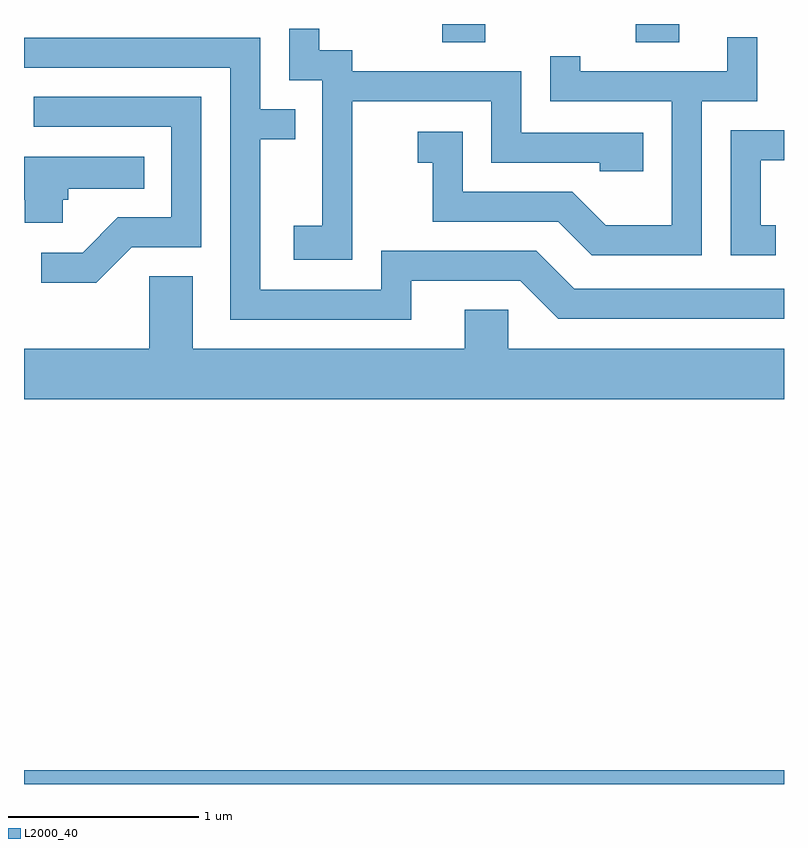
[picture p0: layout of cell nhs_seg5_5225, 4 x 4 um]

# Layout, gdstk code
import gdstk
lib = gdstk.Library(unit=1e-6, precision=1e-09)
def R(c, l, rs):  # rectangles x0, y0, x1, y1
    for r in rs: c.add(gdstk.rectangle(r[:2], r[2:], *l))
def P(c, l, *ps):  # polygons
    for p in ps: c.add(gdstk.Polygon(p, *l))
L2000_40 = (2000, 40)

nhs_seg5_5225 = lib.new_cell('nhs_seg5_5225')
R(nhs_seg5_5225, L2000_40, [(339.611,1488.072,343.611,1488.144), (341.811,1491.976,342.039,1492.072), (342.831,1491.976,343.059,1492.072)])
P(nhs_seg5_5225, L2000_40, [(341.339,1491.666),(342.071,1491.666),(342.071,1491.341),(342.641,1491.341),(342.641,1491.296),(342.869,1491.296),(342.869,1491.499),(342.229,1491.499),(342.229,1491.824),(341.339,1491.824),(341.339,1491.934),(341.164,1491.934),(341.164,1492.048),(341.006,1492.048),(341.006,1491.776),(341.181,1491.776),(341.181,1491.009),(341.031,1491.009),(341.031,1490.831),(341.339,1490.831)],
  [(343.179,1491.666),(343.469,1491.666),(343.469,1492.003),(343.311,1492.003),(343.311,1491.824),(342.539,1491.824),(342.539,1491.903),(342.381,1491.903),(342.381,1491.666),(343.021,1491.666),(343.021,1491.014),(342.672,1491.014),(342.497,1491.189),(341.919,1491.189),(341.919,1491.504),(341.683,1491.504),(341.683,1491.341),(341.761,1491.341),(341.761,1491.031),(342.424,1491.031),(342.599,1490.856),(343.179,1490.856)],
  [(341.649,1490.721),(342.224,1490.721),(342.424,1490.521),(343.611,1490.521),(343.611,1490.679),(342.507,1490.679),(342.307,1490.879),(341.491,1490.879),(341.491,1490.674),(340.854,1490.674),(340.854,1491.466),(341.038,1491.466),(341.038,1491.624),(340.854,1491.624),(340.854,1491.999),(339.611,1491.999),(339.611,1491.841),(340.696,1491.841),(340.696,1490.516),(341.649,1490.516)],
  [(340.177,1490.896),(340.544,1490.896),(340.544,1491.689),(339.663,1491.689),(339.663,1491.531),(340.386,1491.531),(340.386,1491.054),(340.104,1491.054),(339.919,1490.869),(339.703,1490.869),(339.703,1490.711),(339.992,1490.711)],
  [(343.568,1491.014),(343.489,1491.014),(343.489,1491.356),(343.611,1491.356),(343.611,1491.514),(343.331,1491.514),(343.331,1490.856),(343.568,1490.856)],
  [(339.814,1491.146),(339.844,1491.146),(339.844,1491.206),(340.243,1491.206),(340.243,1491.374),(339.611,1491.374),(339.611,1491.146),(339.616,1491.146),(339.616,1491.026),(339.814,1491.026)],
  [(343.611,1490.364),(342.159,1490.364),(342.159,1490.569),(341.931,1490.569),(341.931,1490.364),(340.499,1490.364),(340.499,1490.744),(340.271,1490.744),(340.271,1490.364),(339.611,1490.364),(339.611,1490.096),(343.611,1490.096)])

lib.write_gds('nhs_seg5_5225.gds')
